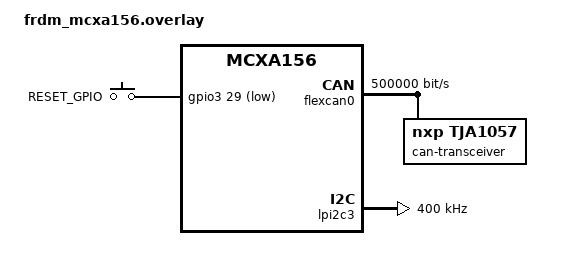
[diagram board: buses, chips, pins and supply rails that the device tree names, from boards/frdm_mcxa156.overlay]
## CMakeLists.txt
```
# SPDX-License-Identifier: Apache-2.0

cmake_minimum_required(VERSION 3.20.0)


find_package(Zephyr REQUIRED HINTS $ENV{ZEPHYR_BASE})
project(CAN)

zephyr_include_directories(
    INCLUDES src
)

target_sources(app PRIVATE src/main.c
                           src/relay-5-click.c)
```

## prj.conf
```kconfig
CONFIG_POLL=y
CONFIG_CAN=y
CONFIG_CAN_INIT_PRIORITY=80
CONFIG_CAN_MAX_FILTER=5

CONFIG_SHELL=y
CONFIG_CAN_SHELL=y
CONFIG_DEVICE_SHELL=y

CONFIG_GPIO=y
CONFIG_I2C=y
CONFIG_STATS=y
CONFIG_STATS_NAMES=y
CONFIG_STATS_SHELL=y
CONFIG_CAN_STATS=y

CONFIG_CBPRINTF_FP_SUPPORT=y
```

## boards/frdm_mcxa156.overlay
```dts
/ {
    chosen {
        zephyr,canbus = &flexcan0;
    };
    aliases
    {
      rstgpio = &MikroeReset;
    };
    user_signals: user_signal
    {
        compatible = "gpio-keys";
        
        MikroeReset:rstGPIO
        {
            gpios = <&gpio3 29 GPIO_ACTIVE_LOW>;
            label = "RESET_GPIO";
        };
    };
};


&flexcan0 {
    status = "okay";
    bitrate = <500000>;
    sample-point = <875>;

    can-transceiver {
		compatible = "nxp,tja1057";
    	max-bitrate = <1000000>;
    };
};

&lpi2c3
{
    status = "okay";
    clock-frequency = <I2C_BITRATE_FAST>;
};
```

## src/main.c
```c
/*
 * Copyright 2026 NXP
 *
 * SPDX-License-Identifier: Apache-2.0
 */

#include <zephyr/kernel.h>
#include <zephyr/sys/printk.h>
#include <zephyr/device.h>
#include <zephyr/drivers/can.h>
#include <zephyr/drivers/i2c.h>
#include <zephyr/drivers/gpio.h>
#include <zephyr/dt-bindings/gpio/gpio.h>
#include <zephyr/dt-bindings/gpio/nxp-kinetis-gpio.h>

#include "relay-5-click.h"

// Definitions ------------------------------
#define RX_THREAD_STACK_SIZE 512
#define RX_THREAD_PRIORITY 2

#define RELAY_STATE_MSG_ID 0x10


typedef struct _can_relay_states_t
{
	uint8_t relay_1;
	uint8_t relay_2;
	uint8_t relay_3;
} can_relay_states_t;
// ------------------------------------------

// Threads ----------------------------------
K_THREAD_STACK_DEFINE(rx_thread_stack, RX_THREAD_STACK_SIZE);
struct k_thread rx_thread_data;

void rx_thread(void *arg1, void *arg2, void *arg3);
void poll_state_thread(void *arg1, void *arg2, void *arg3);
// ------------------------------------------

// Peripherals ------------------------------
const struct device *const can_dev = DEVICE_DT_GET(DT_CHOSEN(zephyr_canbus));
const struct device *const i2c_dev = DEVICE_DT_GET(DT_NODELABEL(lpi2c3));
const struct gpio_dt_spec rst_gpio_dev = GPIO_DT_SPEC_GET(DT_ALIAS(rstgpio), gpios);
// ------------------------------------------

// Application ------------------------------
static can_relay_states_t *g_can_relay_states = 0;
static uint8_t g_relay_state_update = 0;
// ------------------------------------------

// CAN Reception queue ----------------------
CAN_MSGQ_DEFINE(relay_state_msgq, 2);
// ------------------------------------------



int32_t relay_i2c_transfer_function(relay_i2c_option_t option, uint8_t address, uint8_t subaddress,uint8_t* buff, uint32_t len)
{
	uint32_t retval;
	uint8_t send[2] = {subaddress,buff[0]};
	if(option == k_joystick_i2c_Read)
	{
		retval = i2c_write_read(i2c_dev, address, &subaddress, 1, &buff, len);
		if(retval) 
		{
			printk("I2C read error\r\n");
		}
	}
	else
	{
		retval = i2c_write(i2c_dev, send, (len+1), address);
		if(retval) 
		{
			printk("Error write I2C\r\n");
		}
	}
	return retval;
}

int main(void)
{
	k_tid_t rx_th;
	relay_states_t states;
	int ret;

	printk("-------- Modbus CAN FRDM-MCXA156 --------\n\r");
	// Check if device is initialized --------------------------
	if(!device_is_ready(can_dev)) 
	{
		printf("CAN: Device %s not ready.\n", can_dev->name);
		return -1;
	}
	// ---------------------------------------------------------

	// Set CAN mode --------------------------------------------
	ret = can_set_mode(can_dev, CAN_MODE_NORMAL);
	if(ret != 0)
	{
		printf("Error setting CAN mode [%d]", ret);
		return -1;
	}
	// ---------------------------------------------------------

	// Start CAN -----------------------------------------------
	ret = can_start(can_dev);
	if(ret != 0)
	{
		printf("Error starting CAN controller [%d]", ret);
		return -1;
	}
	// ---------------------------------------------------------
	
	// LPI2C ---------------------------------------------------
    if(!device_is_ready(i2c_dev)) 
	{
        printk("I2C device not ready\r\n");
        return -1;
    }
	// ---------------------------------------------------------

	// GPIO ----------------------------------------------------
	if(!device_is_ready(rst_gpio_dev.port)) 
	{
        printk("Reset GPIO is not ready\r\n");
        return -1;
    }
	gpio_pin_configure_dt(&rst_gpio_dev, GPIO_OUTPUT_INACTIVE | KINETIS_GPIO_DS_ALT);
	// Do reset -------------------------
	gpio_pin_set_dt(&rst_gpio_dev, 1);
	k_msleep(500);
	gpio_pin_set_dt(&rst_gpio_dev, 0);
	k_msleep(500);
	// ----------------------------------
	// ---------------------------------------------------------

	// Reception thread ----------------------------------------
	rx_th = k_thread_create(&rx_thread_data, rx_thread_stack,
				 K_THREAD_STACK_SIZEOF(rx_thread_stack),
				 rx_thread, NULL, NULL, NULL,
				 RX_THREAD_PRIORITY, 0, K_NO_WAIT);
	if(!rx_th)
	{
		printf("Error openning reception thread\r\n");
		return -1;
	}
	// ---------------------------------------------------------

	// Relay 5 click init --------------------------------------
    relay5click_init(relay_i2c_transfer_function);
	
	states.relay_0 = k_relay_off;
	states.relay_1 = k_relay_off;
	states.relay_2 = k_relay_off;
	relay5click_set_states(states);
	// ---------------------------------------------------------

	printf("Init finished\r\n");

	while (1)
	{
		if(g_relay_state_update)
		{
			g_relay_state_update = 0;
			printf("States received: %d,%d,%d\r\n", g_can_relay_states->relay_1, g_can_relay_states->relay_2, g_can_relay_states->relay_3);
			states.relay_0 = (g_can_relay_states->relay_1)? k_relay_on:k_relay_off;
			states.relay_1 = (g_can_relay_states->relay_2)? k_relay_on:k_relay_off;
			states.relay_2 = (g_can_relay_states->relay_3)? k_relay_on:k_relay_off;
			relay5click_set_states(states);
		}
		k_msleep(500);
	}
}


void rx_thread(void *arg1, void *arg2, void *arg3)
{
	ARG_UNUSED(arg1);
	ARG_UNUSED(arg2);
	ARG_UNUSED(arg3);
	
	struct can_frame frame;
	int filter_id;
	const struct can_filter filter = {
		.flags = CAN_FILTER_IDE,
		.id = RELAY_STATE_MSG_ID,
		.mask = CAN_EXT_ID_MASK
	};

	g_can_relay_states = (can_relay_states_t*)frame.data;
	filter_id = can_add_rx_filter_msgq(can_dev, &relay_state_msgq, &filter);
	printf("Relay state filter id: %d\r\n", filter_id);

	while (1) {
		k_msgq_get(&relay_state_msgq, &frame, K_FOREVER);

		if (IS_ENABLED(CONFIG_CAN_ACCEPT_RTR) && (frame.flags & CAN_FRAME_RTR) != 0U) {
			continue;
		}

		if (frame.dlc != 2U) {
			continue;
		}

		g_relay_state_update = 1;
	}
}
```

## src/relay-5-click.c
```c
/*
 * Copyright 2024, 2026 NXP
 *
 * SPDX-License-Identifier: BSD-3-Clause
 */

#include <relay-5-click.h>

// Map register ----------------------------
#define INPUT_PORT_REG			0x00
#define OUTPUT_PORT_REG			0x01
#define POLARITY_INVERSION_REG	0x02
#define CONFIGURATION_REG		0x03
// -----------------------------------------

static relay_i2c_transfer 	g_i2c_transfer_function = 0;
static uint8_t				g_buff					= 0;

void relay5click_init(relay_i2c_transfer transfer_func)
{
	g_i2c_transfer_function = transfer_func;
	if(g_i2c_transfer_function)
	{
		g_buff = 0x00;
		g_i2c_transfer_function(k_joystick_i2c_Write, RELAY5CLICK_SELECTED_ADDRESS,
								CONFIGURATION_REG, &g_buff, 1);
		g_buff = 0x00;
		g_i2c_transfer_function(k_joystick_i2c_Write, RELAY5CLICK_SELECTED_ADDRESS,
								OUTPUT_PORT_REG, &g_buff, 1);
	}
}

relay_states_t relay5click_get_states()
{
	relay_states_t retval;
	if(g_i2c_transfer_function)
	{
		g_i2c_transfer_function(k_joystick_i2c_Read, RELAY5CLICK_SELECTED_ADDRESS,
							INPUT_PORT_REG, &g_buff, 1);
		retval.relay_2 = ((0x01 & g_buff)!=0);
		retval.relay_1 = ((0x02 & g_buff)!=0);
		retval.relay_0 = ((0x04 & g_buff)!=0);
	}
	return retval;
}

int32_t relay5click_set_states(relay_states_t states)
{
	int32_t retval = -1;
	if(g_i2c_transfer_function)
	{
		g_buff = 0x00 | (states.relay_0 << 2) | (states.relay_1 << 1) | states.relay_2;
		retval = g_i2c_transfer_function(k_joystick_i2c_Write, RELAY5CLICK_SELECTED_ADDRESS,
							OUTPUT_PORT_REG, &g_buff, 1);
	}
	return retval;

}

int32_t relay5click_set_state(relay_t relay,relay_state_t state)
{
	int32_t retval = -1;
	if(g_i2c_transfer_function)
	{
		retval = g_i2c_transfer_function(k_joystick_i2c_Read, RELAY5CLICK_SELECTED_ADDRESS,
							INPUT_PORT_REG, &g_buff, 1);
		if(!retval)
		{
			if(state)
			{
				g_buff |= 1<<relay;
			}
			else
			{
				g_buff &= ~(1<<relay);
			}
			retval = g_i2c_transfer_function(k_joystick_i2c_Write, RELAY5CLICK_SELECTED_ADDRESS,
									OUTPUT_PORT_REG, &g_buff, 1);
		}
	}
	return retval;
}
```

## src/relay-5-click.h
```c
/*
 * Copyright 2024, 2026 NXP
 *
 * SPDX-License-Identifier: BSD-3-Clause
 */

#ifndef RELAY_5_CLICK_H_
#define RELAY_5_CLICK_H_

#include <stdint.h>
#include <stdbool.h>

#define RELAY5CLICK_ADDR0	0x70
#define RELAY5CLICK_ADDR1	0x71
#define RELAY5CLICK_ADDR2	0x72
#define RELAY5CLICK_ADDR3	0x73

#define RELAY5CLICK_SELECTED_ADDRESS RELAY5CLICK_ADDR0

typedef enum _relay_i2c_option_t
{
	k_joystick_i2c_Read,
	k_joystick_i2c_Write
}relay_i2c_option_t;

typedef enum _relay_t
{
	k_relay_2,
	k_relay_1,
	k_relay_0
} relay_t;


typedef enum _relay_state_t
{
	k_relay_off,
	k_relay_on
} relay_state_t;

typedef struct _relay_states_t
{
	relay_state_t relay_0;
	relay_state_t relay_1;
	relay_state_t relay_2;
}relay_states_t;

typedef int32_t(*relay_i2c_transfer)(relay_i2c_option_t option, uint8_t address, uint8_t subaddress,uint8_t* buff, uint32_t len);

void relay5click_init(relay_i2c_transfer transfer_func);

relay_states_t relay5click_get_states();

int32_t relay5click_set_states(relay_states_t states);

int32_t relay5click_set_state(relay_t relay,relay_state_t state);

#endif /* RELAY_5_CLICK_H_ */
```
